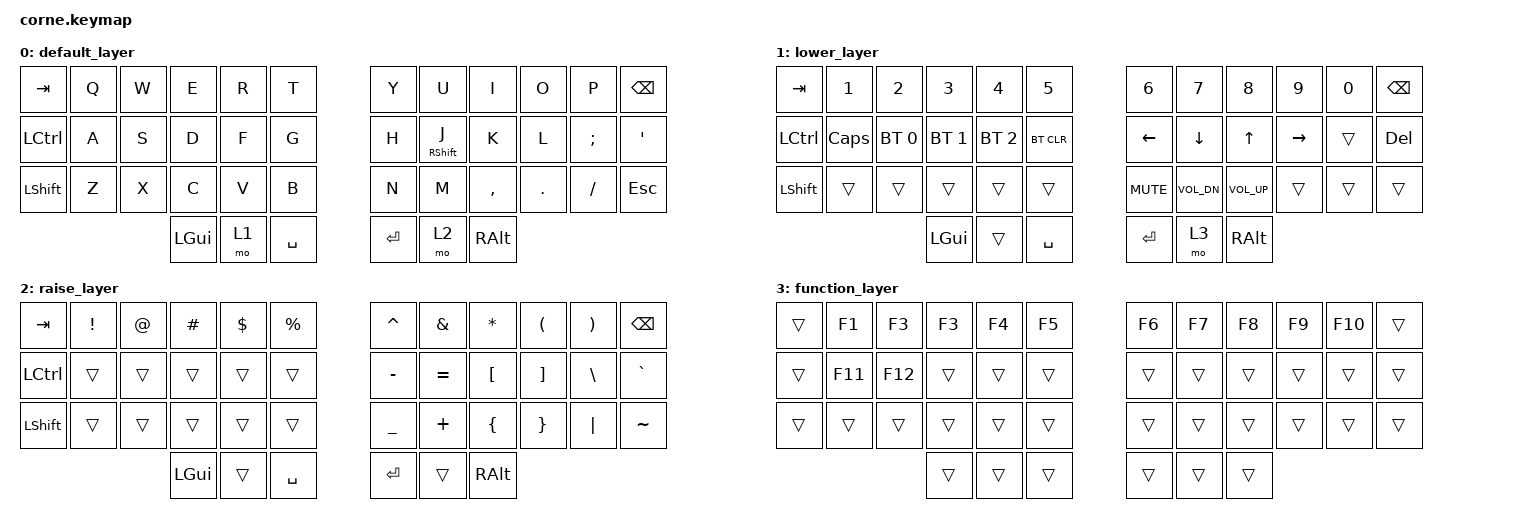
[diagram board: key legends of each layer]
/*
 * Copyright (c) 2020 The ZMK Contributors
 *
 * SPDX-License-Identifier: MIT
 */

#include <behaviors.dtsi>
#include <dt-bindings/zmk/bt.h>
#include <dt-bindings/zmk/keys.h>

/ {
    behaviors {
        HMShiftR: HMShiftR {
            compatible = "zmk,behavior-hold-tap";
            label = "HMSHIFTR";
            bindings = <&kp>, <&kp>;

            #binding-cells = <2>;
            hold-trigger-key-positions = <19>;
            tapping-term-ms = <280>;
            quick-tap-ms = <175>;
            require-prior-idle-ms = <150>;
            hold-trigger-on-release;
        };
    };

    keymap {
        compatible = "zmk,keymap";

        default_layer {
            // -----------------------------------------------------------------------------------------
            // |  TAB |  Q  |  W  |  E  |  R  |  T  |   |  Y  |  U   |  I  |  O  |  P  | BSPC |
            // | CTRL |  A  |  S  |  D  |  F  |  G  |   |  H  |  J   |  K  |  L  |  ;  |  '   |
            // | SHFT |  Z  |  X  |  C  |  V  |  B  |   |  N  |  M   |  ,  |  .  |  /  | ESC  |
            //                    | GUI | LWR | SPC |   | ENT | RSE  | ALT |

            bindings = <
&kp TAB    &kp Q  &kp W  &kp E     &kp R  &kp T        &kp Y    &kp U              &kp I      &kp O    &kp P     &kp BSPC
&kp LCTRL  &kp A  &kp S  &kp D     &kp F  &kp G        &kp H    &mt RIGHT_SHIFT J  &kp K      &kp L    &kp SEMI  &kp SQT
&kp LSHFT  &kp Z  &kp X  &kp C     &kp V  &kp B        &kp N    &kp M              &kp COMMA  &kp DOT  &kp FSLH  &kp ESC
                         &kp LGUI  &mo 1  &kp SPACE    &kp RET  &mo 2              &kp RALT
            >;
        };

        lower_layer {
            // -----------------------------------------------------------------------------------------
            // |  TAB |  1  |  2  |  3  |  4  |  5  |   |  6  |  7  |  8  |  9  |  0  | BSPC |
            // | BTCLR| BT1 | BT2 | BT3 | BT4 | BT5 |   | LFT | DWN |  UP | RGT |     |      |
            // | SHFT |     |     |     |     |     |   |     |     |     |     |     |      |
            //                    | GUI |     | SPC |   | ENT |     | ALT |

            bindings = <
&kp TAB    &kp N1    &kp N2        &kp N3        &kp N4        &kp N5        &kp N6      &kp N7        &kp N8        &kp N9     &kp N0  &kp BSPC
&kp LCTRL  &kp CAPS  &bt BT_SEL 0  &bt BT_SEL 1  &bt BT_SEL 2  &bt BT_CLR    &kp LEFT    &kp DOWN      &kp UP        &kp RIGHT  &trans  &kp DELETE
&kp LSHFT  &trans    &trans        &trans        &trans        &trans        &kp K_MUTE  &kp C_VOL_DN  &kp C_VOL_UP  &trans     &trans  &trans
                                   &kp LGUI      &trans        &kp SPACE     &kp RET     &mo 3         &kp RALT
            >;
        };

        raise_layer {
            // -----------------------------------------------------------------------------------------
            // |  TAB |  !  |  @  |  #  |  $  |  %  |   |  ^  |  &  |  *  |  (  |  )  | BSPC |
            // | CTRL |     |     |     |     |     |   |  -  |  =  |  [  |  ]  |  \  |  `   |
            // | SHFT |     |     |     |     |     |   |  _  |  +  |  {  |  }  | "|" |  ~   |
            //                    | GUI |     | SPC |   | ENT |     | ALT |

            bindings = <
&kp TAB    &kp EXCL  &kp AT  &kp HASH  &kp DLLR  &kp PRCNT    &kp CARET  &kp AMPS   &kp ASTRK  &kp LPAR  &kp RPAR  &kp BSPC
&kp LCTRL  &trans    &trans  &trans    &trans    &trans       &kp MINUS  &kp EQUAL  &kp LBKT   &kp RBKT  &kp BSLH  &kp GRAVE
&kp LSHFT  &trans    &trans  &trans    &trans    &trans       &kp UNDER  &kp PLUS   &kp LBRC   &kp RBRC  &kp PIPE  &kp TILDE
                             &kp LGUI  &trans    &kp SPACE    &kp RET    &trans     &kp RALT
            >;
        };

        function_layer {
            bindings = <
&trans  &kp F1   &kp F3   &kp F3  &kp F4  &kp F5    &kp F6  &kp F7  &kp F8  &kp F9  &kp F10  &trans
&trans  &kp F11  &kp F12  &trans  &trans  &trans    &trans  &trans  &trans  &trans  &trans   &trans
&trans  &trans   &trans   &trans  &trans  &trans    &trans  &trans  &trans  &trans  &trans   &trans
                          &trans  &trans  &trans    &trans  &trans  &trans
            >;
        };
    };
};
